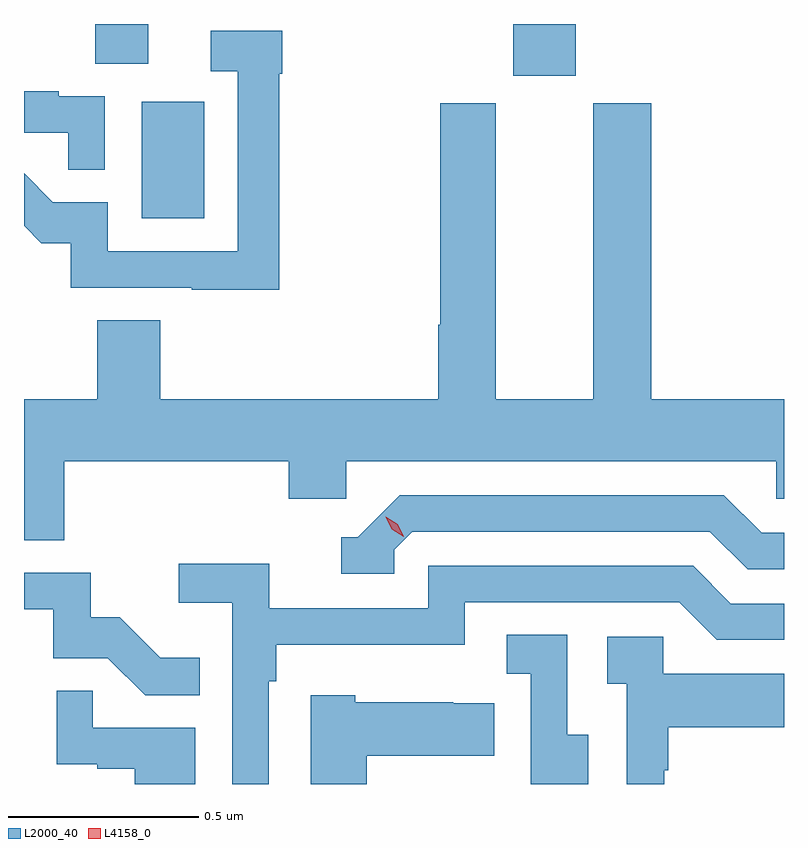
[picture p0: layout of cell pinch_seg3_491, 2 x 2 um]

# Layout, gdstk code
import gdstk
lib = gdstk.Library(unit=1e-6, precision=1e-09)
def R(c, l, rs):  # rectangles x0, y0, x1, y1
    for r in rs: c.add(gdstk.rectangle(r[:2], r[2:], *l))
def P(c, l, *ps):  # polygons
    for p in ps: c.add(gdstk.Polygon(p, *l))
L2000_40 = (2000, 40)
L4158_0 = (4158, 0)

pinch_seg3_491 = lib.new_cell('pinch_seg3_491')
R(pinch_seg3_491, L2000_40, [(1002.08,680.244,1002.244,680.551), (1003.058,680.619,1003.222,680.755), (1001.957,680.65,1002.097,680.755)])
P(pinch_seg3_491, L2000_40, [(1002.442,680.624),(1002.449,680.624),(1002.449,680.737),(1002.261,680.737),(1002.261,680.631),(1002.333,680.631),(1002.333,680.157),(1001.991,680.157),(1001.991,680.286),(1001.846,680.286),(1001.77,680.362),(1001.77,680.224),(1001.816,680.178),(1001.893,680.178),(1001.893,680.061),(1002.211,680.061),(1002.211,680.056),(1002.442,680.056)],
  [(1001.982,680.565),(1001.861,680.565),(1001.861,680.578),(1001.77,680.578),(1001.77,680.469),(1001.887,680.469),(1001.887,680.371),(1001.982,680.371)],
  [(1001.876,679.604),(1002.467,679.604),(1002.467,679.506),(1002.618,679.506),(1002.618,679.604),(1003.749,679.604),(1003.749,679.506),(1003.77,679.506),(1003.77,679.768),(1003.421,679.768),(1003.421,680.547),(1003.268,680.547),(1003.268,679.768),(1003.012,679.768),(1003.012,680.547),(1002.865,680.547),(1002.865,679.964),(1002.86,679.964),(1002.86,679.768),(1002.128,679.768),(1002.128,679.976),(1001.963,679.976),(1001.963,679.768),(1001.77,679.768),(1001.77,679.396),(1001.876,679.396)],
  [(1002.744,679.371),(1002.792,679.419),(1003.575,679.419),(1003.674,679.32),(1003.77,679.32),(1003.77,679.416),(1003.711,679.416),(1003.612,679.515),(1002.759,679.515),(1002.648,679.404),(1002.605,679.404),(1002.605,679.308),(1002.744,679.308)],
  [(1002.414,679.025),(1002.434,679.025),(1002.434,679.121),(1002.93,679.121),(1002.93,679.233),(1003.494,679.233),(1003.593,679.134),(1003.77,679.134),(1003.77,679.23),(1003.63,679.23),(1003.531,679.329),(1002.834,679.329),(1002.834,679.218),(1002.416,679.218),(1002.416,679.334),(1002.177,679.334),(1002.177,679.232),(1002.318,679.232),(1002.318,678.755),(1002.414,678.755)],
  [(1002.233,679.087),(1002.129,679.087),(1002.022,679.194),(1001.946,679.194),(1001.946,679.311),(1001.77,679.311),(1001.77,679.215),(1001.847,679.215),(1001.847,679.086),(1001.991,679.086),(1002.089,678.988),(1002.233,678.988)],
  [(1003.255,678.885),(1003.2,678.885),(1003.2,679.148),(1003.041,679.148),(1003.041,679.045),(1003.104,679.045),(1003.104,678.755),(1003.255,678.755)],
  [(1003.455,678.791),(1003.465,678.791),(1003.465,678.905),(1003.77,678.905),(1003.77,679.045),(1003.452,679.045),(1003.452,679.143),(1003.305,679.143),(1003.305,679.019),(1003.356,679.019),(1003.356,678.755),(1003.455,678.755)],
  [(1002.22,678.903),(1001.951,678.903),(1001.951,679.001),(1001.856,679.001),(1001.856,678.807),(1001.963,678.807),(1001.963,678.795),(1002.062,678.795),(1002.062,678.755),(1002.22,678.755)],
  [(1002.672,678.83),(1003.007,678.83),(1003.007,678.967),(1002.899,678.967),(1002.899,678.97),(1002.642,678.97),(1002.642,678.988),(1002.524,678.988),(1002.524,678.755),(1002.672,678.755)])
P(pinch_seg3_491, L4158_0, [(1002.769,679.406),(1002.738,679.425),(1002.722,679.458),(1002.722,679.458),(1002.722,679.458),(1002.753,679.439),(1002.769,679.406),(1002.769,679.406)])

lib.write_gds('pinch_seg3_491.gds')
